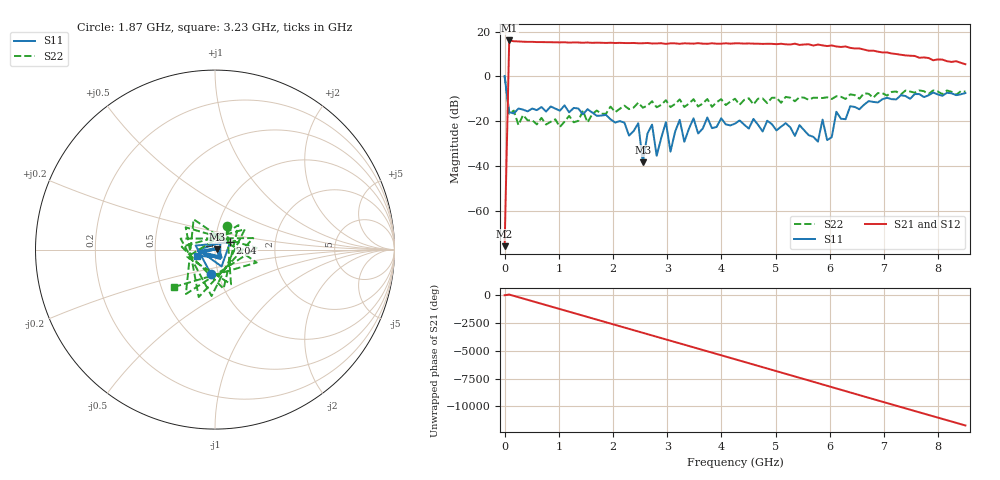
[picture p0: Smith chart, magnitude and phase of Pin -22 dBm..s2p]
! RsaToolbox (C) 2013 Rohde & Schwarz America
! Number of points: 101
! Number of ports: 2
! Balanced ports?: 0
# Hz S RI R 50
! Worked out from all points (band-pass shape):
!   101 points, 9 kHz to 8.5 GHz, reference 50 ohm
!   highest |S21| = 16.10 dB at 85.01 MHz (marker M1); lowest = -75.9 dB at 9 kHz (marker M2)
!   |S21| within 3 dB of the highest: 82.24 MHz to 6.333 GHz (6.251 GHz wide, 195 % of centre)
!   lowest |S11| = -38.4 dB at 2.55 GHz (marker M3), VSWR 1.02, Z = 51.2 + j0.2 ohm
!   |S11| at or under -10 dB: 53.69 MHz to 6.99 GHz (6.936 GHz wide, 197 % of centre); 7.119 GHz to 7.236 GHz (117.1 MHz wide, 1.63 % of centre)
!   |S22| runs from -22.6 to 0.2 dB; largest |S21 - S12| = 0
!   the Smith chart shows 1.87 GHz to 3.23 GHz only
!   S11 on the Smith chart (normalised r, x): 1.87 GHz: 0.92, -0.26; 2.04 GHz: 1.18, +0.10; 3.23 GHz: 0.81, -0.06
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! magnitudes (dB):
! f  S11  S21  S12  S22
! 9 kHz  0.2  -75.9  -75.9  0.2
! 85.01 MHz  -16.0  16.1  16.1  -16.7
! 1.02 GHz  -15.3  15.2  15.2  -22.6
! 1.445 GHz  -16.9  15.1  15.1  -15.3
! 1.87 GHz  -17.2  15.0  15.0  -16.7
! 2.04 GHz  -20.6  15.0  15.0  -15.9
! 2.465 GHz  -20.9  14.8  14.8  -11.7
! 2.55 GHz  -38.4  14.9  14.9  -14.0
! 2.72 GHz  -21.5  14.7  14.7  -11.1
! 2.805 GHz  -35.5  14.8  14.8  -13.8
! 2.89 GHz  -27.4  14.9  14.9  -12.7
! 2.975 GHz  -20.4  14.6  14.6  -10.6
! 3.06 GHz  -33.6  14.8  14.8  -13.7
! 3.23 GHz  -19.4  14.6  14.6  -10.2
! 3.315 GHz  -29.2  14.8  14.8  -13.6
! 3.485 GHz  -18.7  14.7  14.7  -10.2
! 3.57 GHz  -25.5  14.9  14.9  -13.4
! 4.25 GHz  -21.1  14.8  14.8  -10.0
! 5.695 GHz  -27.0  13.8  13.8  -9.5
! 6.12 GHz  -15.8  13.4  13.4  -8.8
! 7.14 GHz  -10.2  10.3  10.3  -6.9
! 8.5 GHz  -7.4  5.5  5.5  -6.8
